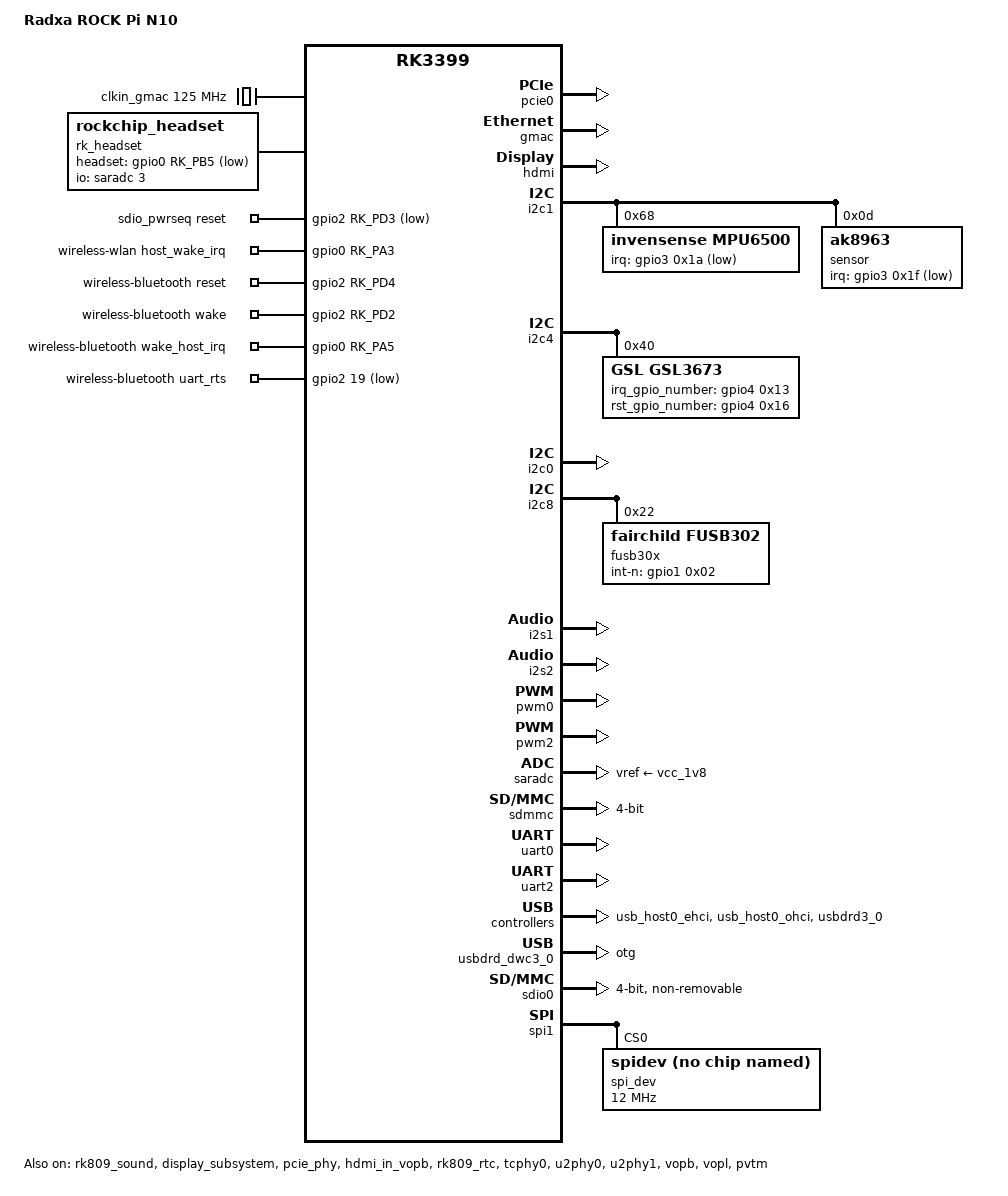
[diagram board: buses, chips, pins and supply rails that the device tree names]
// SPDX-License-Identifier: (GPL-2.0+ OR MIT)
// Copyright (c) 2018 Fuzhou Rockchip Electronics Co., Ltd

/dts-v1/;
#include "rk3399pro-vmarc-som-syr.dtsi"
#include "rk3399-linux.dtsi"

/ {
	model = "Radxa ROCK Pi N10";
	compatible = "radxa,rk3399pro-rockpin10", "rockchip,rk3399pro";

	chosen {
		bootargs = "earlycon=uart8250,mmio32,0xff1a0000 swiotlb=1 coherent_pool=1m";
		stdout-path = "serial2:1500000n8";
	};

	backlight: backlight {
		status = "disabled";
		compatible = "pwm-backlight";
		pwms = <&pwm0 0 25000 0>;
		brightness-levels = <
			  0  20  20  21  21  22  22  23
			 23  24  24  25  25  26  26  27
			 27  28  28  29  29  30  30  31
			 31  32  32  33  33  34  34  35
			 35  36  36  37  37  38  38  39
			 40  41  42  43  44  45  46  47
			 48  49  50  51  52  53  54  55
			 56  57  58  59  60  61  62  63
			 64  65  66  67  68  69  70  71
			 72  73  74  75  76  77  78  79
			 80  81  82  83  84  85  86  87
			 88  89  90  91  92  93  94  95
			 96  97  98  99 100 101 102 103
			104 105 106 107 108 109 110 111
			112 113 114 115 116 117 118 119
			120 121 122 123 124 125 126 127
			128 129 130 131 132 133 134 135
			136 137 138 139 140 141 142 143
			144 145 146 147 148 149 150 151
			152 153 154 155 156 157 158 159
			160 161 162 163 164 165 166 167
			168 169 170 171 172 173 174 175
			176 177 178 179 180 181 182 183
			184 185 186 187 188 189 190 191
			192 193 194 195 196 197 198 199
			200 201 202 203 204 205 206 207
			208 209 210 211 212 213 214 215
			216 217 218 219 220 221 222 223
			224 225 226 227 228 229 230 231
			232 233 234 235 236 237 238 239
			240 241 242 243 244 245 246 247
			248 249 250 251 252 253 254 255
		>;
		default-brightness-level = <10>;
		pinctrl-names = "default";
		pinctrl-0 = <&bl_en>;
		enable-gpios = <&gpio1 RK_PB5 GPIO_ACTIVE_HIGH>;
	};

	clkin_gmac: external-gmac-clock {
		compatible = "fixed-clock";
		clock-frequency = <125000000>;
		clock-output-names = "clkin_gmac";
		#clock-cells = <0>;
	};

	fiq_debugger: fiq-debugger {
		compatible = "rockchip,fiq-debugger";
		rockchip,serial-id = <2>;
		rockchip,wake-irq = <0>;
		rockchip,irq-mode-enable = <1>;  /* If enable uart uses irq instead of fiq */
		rockchip,baudrate = <1500000>;  /* Only 115200 and 1500000 */
		pinctrl-names = "default";
		pinctrl-0 = <&uart2c_xfer>;
		interrupts = <GIC_SPI 150 IRQ_TYPE_LEVEL_HIGH 0>;
		status = "okay";
	};

	panel: panel {
		status = "disabled";
		compatible = "simple-panel";
		backlight = <&backlight>;
		enable-gpios = <&gpio4 RK_PD3 GPIO_ACTIVE_HIGH>;
		prepare-delay-ms = <100>;
		enable-delay-ms = <100>;
		reset-delay-ms = <100>;

		display-timings {
			native-mode = <&timing0>;

			timing0: timing0 {
				clock-frequency = <65000000>;
				hactive = <1280>;
				vactive = <800>;
				hfront-porch = <28>;
				hsync-len = <16>;
				hback-porch = <16>;
				vfront-porch = <6>;
				vsync-len = <2>;
				vback-porch = <4>;
				hsync-active = <0>;
				vsync-active = <0>;
				de-active = <0>;
				pixelclk-active = <0>;
			};
		};

		ports {
			panel_in: endpoint {
				remote-endpoint = <&edp_out>;
			};
		};
	};

	rk_headset {
		status = "okay";
		compatible = "rockchip_headset";
		headset_gpio = <&gpio0 RK_PB5 GPIO_ACTIVE_LOW>;	
		pinctrl-names = "default";
		pinctrl-0 = <&hp_det>;
		io-channels = <&saradc 3>;
	};


	hdmi_codec: hdmi-codec {
		status = "okay";
		compatible = "simple-audio-card";
		simple-audio-card,format = "i2s";
		simple-audio-card,mclk-fs = <256>;
		simple-audio-card,name = "HDMI-CODEC";

		simple-audio-card,cpu {
			sound-dai = <&i2s2>;
		};

		simple-audio-card,codec {
			sound-dai = <&hdmi>;
		};
	};

	sdio_pwrseq: sdio-pwrseq {
		status = "okay";
		compatible = "mmc-pwrseq-simple";
		clocks = <&rk809 0x01>;
		clock-names = "ext_clock";
		pinctrl-names = "default";
		pinctrl-0 = <&wifi_enable_h>;
		reset-gpios = <&gpio2 RK_PD3 GPIO_ACTIVE_LOW>;
	};


	wireless-wlan {
		WIFI,host_wake_irq = <&gpio0 RK_PA3 GPIO_ACTIVE_HIGH>;
		compatible = "wlan-platdata";
		rockchip,grf = <&grf>;
		sdio_vref = <1800>;
		status = "okay";
		wifi_chip_type = "ap6398s";
	};


	wireless-bluetooth {
		BT,reset_gpio = <&gpio2 RK_PD4 GPIO_ACTIVE_HIGH>;
		BT,wake_gpio = <&gpio2 RK_PD2 GPIO_ACTIVE_HIGH>;
		BT,wake_host_irq = <&gpio0 RK_PA5 GPIO_ACTIVE_HIGH>;
		//BT,power_gpio = <&gpio2 RK_PD4 GPIO_ACTIVE_HIGH>;
		clock-names = "ext_clock";
		clocks = <&rk809 0x01>;
		compatible = "bluetooth-platdata";
		pinctrl-0 = <&uart0_rts &bt_irq_gpio>;
		//pinctrl-0 = <&uart0_rts>;
		pinctrl-1 = <&uart0_gpios>;
		pinctrl-names = "default","rts_gpio";
		status = "okay";
		uart_rts_gpios = <&gpio2 19 GPIO_ACTIVE_LOW>;
	};
};

&rk809_sound {
	status = "okay";
};

&spdif {
	pinctrl-0 = <&spdif_bus>;
	status = "disabled";
	#sound-dai-cells = <0>;
};

&display_subsystem {
	status = "okay";
};

&dp_in_vopb {
	status = "disabled";
};

&edp {
	status = "disabled";
	force-hpd;

	ports {
		port@1 {
			reg = <1>;

			edp_out: endpoint {
				remote-endpoint = <&panel_in>;
			};
		};
	};
};

&edp_in_vopl {
	status = "disabled";
};

&pcie_phy {
	status = "okay";
};

&pcie0 {
	ep-gpios = <&gpio0 RK_PB4 GPIO_ACTIVE_HIGH>;
	num-lines = <4>;
	pinctrl-names = "default";
	pinctrl-0 = <&pcie_clkreqnb>;
	status = "okay";
};

&gmac {
	status = "okay";
};

&hdmi {
	status = "okay";
	#address-cells = <1>;
	#size-cells = <0>;
	#sound-dai-cells = <0>;
//	rockchip,phy-table =
//		<74250000  0x8009 0x0004 0x0272>,
//		<165000000 0x802b 0x0004 0x0209>,
//		<297000000 0x8039 0x0005 0x028d>,
//		<594000000 0x8039 0x0000 0x00f6>,
//		<000000000 0x0000 0x0000 0x0000>;
};

&hdmi_in_vopb {
	status = "okay";
};

&hdmi_in_vopl {
	status = "disabled";
};

&i2c1 {
	status = "okay";
	i2c-scl-falling-time-ns = <0x1e>;
	i2c-scl-rising-time-ns = <0x8c>;
	mpu6500@68 {
		compatible = "invensense,mpu6500";
		irq-gpio = <&gpio3 0x1a 0x01>;
		mpu-debug = <0x01>;
		mpu-int_config = <0x10>;
		mpu-level_shifter = <0x00>;
		mpu-orientation = <0x00 0x01 0x00 0x01 0x00 0x00 0x00 0x00 0x01>;
		orientation-x = <0x00>;
		orientation-y = <0x00>;
		orientation-z = <0x01>;
		reg = <0x68>;
		status = "okay";
	};

	sensor@d {
		compatible = "ak8963";
		irq-gpio = <&gpio3 0x1f 0x01>;
		irq_enable = <0x00>;
		layout = <0x03>;
		poll_delay_ms = <0x1e>;
		reg = <0x0d>;
		status = "okay";
		type = <0x03>;
	};
};


&rk809_rtc {
	status = "okay";
};

&i2c4 {
	status = "okay";
	i2c-scl-falling-time-ns = <0x0b>;
	i2c-scl-rising-time-ns = <0x159>;
	gsl3673@40 {
		compatible = "GSL,GSL3673";
		irq_gpio_number = <&gpio4 0x13 0x08>;
		reg = <0x40>;
		rst_gpio_number = <&gpio4 0x16 0x00>;
		screen_max_x = <0x600>;
		screen_max_y = <0x800>;
	};
};



&i2c0 {
	status = "okay";
	bq25700@6b {
		compatible = "ti,bq25703";
		extcon = <&fusb30x>;
		//interrupt-parent = <0x33>;
		//interrupts = <0x01 0x08>;
		pd-charge-only = <0x00>;
		pinctrl-0 = <&charger_ok_int>;
		pinctrl-names = "default";
		reg = <0x6b>;
		status = "disabled";
		ti,charge-current = <0x16e360>;
		ti,input-current = <0x7a120>;
		ti,input-current-cdp = <0x1e8480>;
		ti,input-current-dc = <0x1e8480>;
		ti,input-current-dcp = <0x1e8480>;
		ti,input-current-sdp = <0x7a120>;
		ti,max-charge-voltage = <0x84d000>;
		ti,max-input-current = <0x5b8d80>;
		ti,max-input-voltage = <0x1312d00>;
		ti,minimum-sys-voltage = <0x663be0>;
		ti,otg-current = <0x7a120>;
		ti,otg-voltage = <0x4c4b40>;
	};
};


&i2c8 {
	status = "okay";
	i2c-scl-falling-time-ns = <0x0b>;
	i2c-scl-rising-time-ns = <0x159>;
	status = "okay";

	fusb30x: fusb30x@22 {
		compatible = "fairchild,fusb302";
		int-n-gpios = <&gpio1 0x02 0x00>;
		//phandle = <0x28>;
		pinctrl-0 = <&fusb0_int>;
		pinctrl-names = "default";
		reg = <0x22>;
		status = "okay";
	};
};

&i2s0 {
	#sound-dai-cells = <0>;
	status = "dsiabled";
};

&i2s1 {
	status = "okay";
	#sound-dai-cells = <0>;
};


&i2s2 {
	#sound-dai-cells = <0>;
	status = "okay";
};

&isp0_mmu {
	status = "okay";
};

&pwm0 {
	status = "okay";
};

&pwm1 {
	status = "disabled";
};

&pwm2 {
	status = "okay";
};

&pwm3 {
	status = "disabled";
};

&rkisp1_0 {
	status = "disabled";
};

&mipi_dphy_rx0 {
	status = "disabled";
};

&route_edp {
	status = "disabled";
};

&saradc {
	status = "okay";
	vref-supply = <&vcc_1v8>;
};

&sdmmc {
	sd-uhs-sdr12;
	sd-uhs-sdr25;
	sd-uhs-sdr50;
	sd-uhs-sdr104;
};

&uart0 {
	//assigned-clock-parents = <&cru 0x05>;
	//assigned-clocks = <&cru 0xac>;
	pinctrl-names = "default";
	pinctrl-0 = <&uart0_xfer &uart0_cts>;
	status = "okay";
};

&uart2 {
	//assigned-clock-parents = <&cru 0x05>;
	//assigned-clocks = <&cru 0xad>;
	status = "okay";
};

&tcphy0 {
	status = "okay";
};

&u2phy0 {
	status = "okay";
	extcon = <&fusb30x>;
	u2phy0_otg: otg-port {
		status = "okay";
	};

	u2phy0_host: host-port {
		phy-supply = <&vcc5v0_usb2>;
		status = "okay";
	};
};

&u2phy1 {
	status = "okay";
	u2phy1_host: host-port {
		phy-supply = <&vcc5v0_usb2>;
		status = "okay";
	};
};

&usb_host0_ehci {
	status = "okay";
};

&usb_host0_ohci {
	status = "okay";
};

&usbdrd3_0 {
	extcon = <&fusb30x>;
	status = "okay";
};


&usbdrd_dwc3_0 {
	dr_mode = "otg";
	status = "okay";
};

&vopb {
	status = "okay";
};

&vopb_mmu {
	status = "okay";
};

&vopl {
	status = "okay";
};

&vopl_mmu {
	status = "okay";
};

&dsi {
	status = "disabled";

	panel_0: panel@0 {
		compatible ="rockpi,tc358762";
		reg = <0>;
		status = "disabled";
	};
};

&dsi_in_vopl {
	status = "disabled";
};

&dsi_in_vopb {
	status = "disabled";
};

&sdio0 {
	status = "okay";
	bus-width = <4>;
	cap-sd-highspeed;
	cap-sdio-irq;
	clock-freq-min-max = <200000 150000000>;
	clock-frequency = <150000000>;
	disable-wp;
	keep-power-in-suspend;
	mmc-pwrseq = <&sdio_pwrseq>;
	non-removable;
	num-slots = <1>;
	pinctrl-0 = <&sdio0_bus4 &sdio0_cmd &sdio0_clk>;
	pinctrl-names = "default";
	sd-uhs-sdr104;
	supports-sdio;
};

&sdmmc {
	status = "okay";
	bus-width = <4>;
	cap-mmc-highspeed;
	cap-sd-highspeed;
	clock-freq-min-max = <400000 150000000>;
	clock-frequency = <150000000>;
	disable-wp;
	num-slots = <1>;
	pinctrl-0 = <&sdmmc_clk &sdmmc_cmd &sdmmc_cd &sdmmc_bus4>;
	pinctrl-names = "default";
	sd-uhs-sdr104;
	sd-uhs-sdr12;
	sd-uhs-sdr25;
	sd-uhs-sdr50;
	supports-sd;
	vqmmc-supply = <&vccio_sd>;
};

&spi1 {
	status = "okay";
	dma-names = "tx","rx";
	dmas = <&dmac_peri 12 &dmac_peri 13>;
	max-freq = <48000000>; /* spi internal clk, don't modify */
	spi_dev@0 {
		compatible = "rockchip,spidev";
		reg = <0>;
		spi-max-frequency = <12000000>;
		spi-lsb-first;
		status = "okay";
	};
};

&power {
	pd_vi-supply = <&vdd_log>;
	pd_vpu-supply = <&vdd_log>;
	pd_gpu-supply = <&vdd_log>;
	pd_usb-supply = <&vdd_log>;
	pd_vo-supply = <&vdd_log>;
	pd_vopb-supply = <&vdd_log>;
	pd_vopl-supply = <&vdd_log>;
};

&pvtm {
	status = "okay";
};

&dmc_opp_table {
	opp-200000000 {
		opp-hz = <0x00 200000000>;
		opp-microvolt = <900000>;
	};

	opp-300000000 {
		opp-hz = <0 300000000>;
		opp-microvolt = <900000>;
	};

	opp-300000000 {
		opp-hz = <0 300000000>;
		opp-microvolt = <900000>;
	};

	opp-528000000 {
		opp-hz = <0 528000000>;
		opp-microvolt = <900000>;
	};

	opp-600000000 {
		opp-hz = <0 600000000>;
		opp-microvolt = <900000>;
	};

	opp-800000000 {
		opp-hz = <0 800000000>;
		opp-microvolt = <900000>;
	};
};


&pinctrl {

	bq2570 {
		charger_ok_int: charger-ok-int {
			rockchip,pins =
				<1 RK_PA1 0 &pcfg_pull_up>;
			};
	};

	fusb30x {
		fusb0_int: fusb0-int {
			rockchip,pins =
				<1 RK_PA2 0 &pcfg_pull_up>;
			};
	};

	
	headphone {
		hp_det: hp-det {
			rockchip,pins =
				<0 RK_PB5 0 &pcfg_pull_up>;
		};
	};

	sdio-pwrseq {
		wifi_enable_h: wifi-enable-h {
			rockchip,pins =
				<2 RK_PD3 0 &pcfg_pull_none>;
		};
	};

	sdmmc {
		sdmmc_bus1: sdmmc-bus1 {
			rockchip,pins =
				<4 8 RK_FUNC_1 &pcfg_pull_up_10ma>;
		};

		sdmmc_bus4: sdmmc-bus4 {
			rockchip,pins =
				<4 8 RK_FUNC_1 &pcfg_pull_up_10ma>,
				<4 9 RK_FUNC_1 &pcfg_pull_up_10ma>,
				<4 10 RK_FUNC_1 &pcfg_pull_up_10ma>,
				<4 11 RK_FUNC_1 &pcfg_pull_up_10ma>;
		};

		sdmmc_clk: sdmmc-clk {
			rockchip,pins =
				<4 12 RK_FUNC_1 &pcfg_pull_none_10ma>;
		};

		sdmmc_cmd: sdmmc-cmd {
			rockchip,pins =
				<4 13 RK_FUNC_1 &pcfg_pull_up_10ma>;
		};
	};

	tp_irq {
		tp_irq_gpio: tp-irq-gpio {
			rockchip,pins =
				<3 RK_PB0 0 &pcfg_pull_up>;
		};
	};

	wireless-bluetooth {
		bt_irq_gpio: bt-irq-gpio {
			//phandle = <0xe7>;
			rockchip,pins = <0 RK_PA5 RK_FUNC_GPIO &pcfg_pull_down>;
		};
		uart0_gpios: uart0-gpios {
			rockchip,pins =
				<2 RK_PC3 RK_FUNC_GPIO &pcfg_pull_none>;
		};
	};

	lcd {
		lcd_rst_gpio: lcd-rst-gpio {
			rockchip,pins =
				<3 4 RK_FUNC_GPIO &pcfg_pull_none>;// eDP
		};
	};

	backlight {
		bl_en: bl-en {
			rockchip,pins =
				<1 13 RK_FUNC_GPIO &pcfg_pull_none>;// eDP
		};
	};
};

